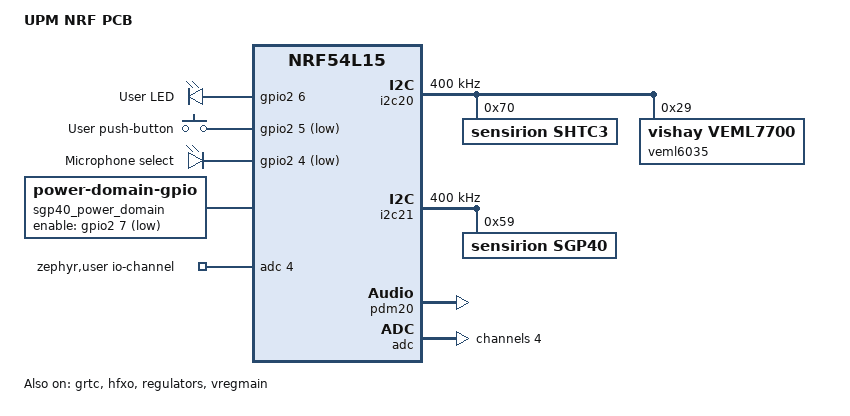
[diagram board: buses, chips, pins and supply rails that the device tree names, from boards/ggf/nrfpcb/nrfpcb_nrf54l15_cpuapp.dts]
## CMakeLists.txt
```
cmake_minimum_required(VERSION 3.20.0)
find_package(Zephyr REQUIRED HINTS $ENV{ZEPHYR_BASE})

# This compiler directive is required to compile Zephyr 4.4.2 under C23.
#
# Currently, some internal Zephyr APIs assume empty parameter lists in function
# declarations mean an unspecified number of arguments. However, C23 treats
# them as equivalent to a (void) parameter list [void fn(void) == void fn()].
#
# The only API erroring while building this repo is the logging subsystem:
# zephyr/subsys/logging/log_output.c. However, others may arise during
# development.
#
# FIXME[c23]: Remove this when Zephyr bundles the relevant fix into a final release,
# either 4.4.3 or 4.5.0, and Nordic pulls it into NCS.
#
# Commit implementing the fix:
# 	https://github.com/zephyrproject-rtos/zephyr/commit/f3d287cace40ff727347c32b0ec51bc334b34cbb
zephyr_compile_options(-Wno-error=incompatible-pointer-types)


list(APPEND CMAKE_MODULE_PATH ${ZEPHYR_BASE}/modules/nanopb)
include(nanopb)
project(firmware)

add_subdirectory(lib)

target_sources(
	app

	PRIVATE
		src/main.c

		src/ble/ble.c
		src/ble/advertise.c
		src/ble/attestation.c
		src/ble/battery.c
		src/ble/dis.c
		src/ble/environment.c
		src/ble/l2cap.c
		src/ble/settings.c
		src/ble/sensor.c
		src/ble/time.c

		src/fs/fs.c
		src/fs/internal.c

		src/init/attest.c
		src/init/battery.c
		src/init/ble.c
		src/init/factorydata.c
		src/init/fs.c
		src/init/mpsl.c
		src/init/sensors.c
		src/init/settings.c
		src/init/task_button_led.c
		src/init/task_sensors.c
		src/init/timesync.c

		src/sense/im70d122.c
		src/sense/sgp40.c
		src/sense/shtc3.c
		src/sense/veml6035.c

		src/settings/settings.c

		src/tasks/button_led.c
		src/tasks/sensors.c
)
# FIXME[c23]: Remove this when C23 support is fixed as well.
set_property(TARGET app PROPERTY C_STANDARD 23)

target_include_directories(
	app

	PRIVATE
		src/
)

zephyr_nanopb_sources(app res/protobuf/device_settings.proto)
zephyr_nanopb_sources(app res/protobuf/sensor_data_request.proto)

zephyr_linker_sources(SECTIONS src/iterables.ld)

target_link_libraries(app PRIVATE lib_attest)
target_link_libraries(app PRIVATE lib_battery)
target_link_libraries(app PRIVATE lib_factory_data)
target_link_libraries(app PRIVATE lib_init)
target_link_libraries(app PRIVATE lib_mpsl)
target_link_libraries(app PRIVATE lib_rram)
target_link_libraries(app PRIVATE lib_timesync)
```

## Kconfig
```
source "Kconfig.zephyr"

menu "SPV"

	rsource "lib/attest/Kconfig"
	rsource "lib/init/Kconfig"

	menu "Battery"
		config SPV_BATTERY_MV_FULL
			int "Battery full level (mV)"
			default 3000
			help
				Expected voltage when battery is at 100%.

		config SPV_BATTERY_MV_DEPLETED
			int "Battery depleted level (mV)"
			default 2000
			help
				Expected voltage when battery is at 0%.

	endmenu

	menu "BLE"
		menu "L2CAP"
			config SPV_BLE_L2CAP_CHANNELS_PER_CONNECTION
				int "L2CAP channels per connection"
				default 1
				help
					How many channels to preallocate per connection.

			config SPV_BLE_L2CAP_BUFFER_SIZE
				int "Buffer size (Bytes)"
				default 128
				help
					Size of a single L2CAP buffer.

			config SPV_BLE_L2CAP_BUFFERS_PER_CONNECTION
				int "Buffers per connection"
				default 48
				help
					How many L2CAP buffers to reserve for each connection.

			config SPV_BLE_L2CAP_MSG_QUEUE_SIZE
				int "Concurrent messages per channel"
				default 8
				help
					Controls how many packets can be enqueued per connection.
					Doesn't control the amount of buffers, but rather
					how many calls to `ble_l2cap_send_enqueue` can be made
					before any of them complete.
		endmenu
	endmenu

	menu "Filesystem"
		config SPV_FS_DATA_SECTOR_COUNT
			int "Data readings per sector"
			default 256
			help
				Specifies the amount of data blocks to store in each
				data sector.

	endmenu

	menu "Sensors"
		menu "Microphone"
			config SPV_SENSE_MIC_SAMPLE_RATE
				int "Sampling rate (Hz)"
				default 16000
				help
					Microphone sampling rate.

			config SPV_SENSE_MIC_BLOCK_MS
				int "Block length (milliseconds)"
				default 50
				help
					Length of each microphone capture.

			config SPV_SENSE_MIC_BLOCKS_PER_CAPTURE
				int "Blocks per capture"
				default 4
				help
					How many blocks to read each capture.

			config SPV_SENSE_MIC_WARMUP_CAPTURES
				int "Warmup captures"
				default 4
				help
					How many captures should be performed and discarded before
					performing the real measurements.

			config SPV_SENSE_MIC_SENSITIVITY
				int "Microphone sensitivity (dBFS)"
				default -26
				help
					Microphone sensitivity. See datasheet.

			config SPV_SENSE_MIC_SENSITIVITY_REF
				int "Microphone sensitivity reference (dBSPL)"
				default 94
				help
					Reference point for microphone's sensitivity value.
					See datasheet.

		endmenu
	endmenu


	menu "Settings"
		config SPV_SETTINGS_MAX_SAMPLING_PERIOD
			int "Maximum sampling period (seconds)"
			default 3600
			help
				Maximum sampling period configurable by the user.

		config SPV_SETTINGS_MIN_SAMPLING_PERIOD
			int "Minimum sampling period (seconds)"
			default 60
			help
				Minimum sampling period configurable by the user.

	endmenu

	menu "UX"
		menu "Pairing"
			config SPV_UX_BTN_PAIRING_THRESHOLD_START_MS
				int "Pairing start (milliseconds)"
				default 2000
				help
					How long the button should be pressed before entering pairing
					mode.

			config SPV_UX_BTN_PAIRING_THRESHOLD_CANCEL_MS
				int "Pairing cancel (milliseconds)"
				default 5000
				help
					Cancels pairing mode if the button was not released before this
					time.

			config SPV_UX_PAIRING_DURATION_MS
				int "Pairing mode duration (milliseconds)"
				default 30000
				help
					How long to stay in pairing mode.

			config SPV_UX_LED_PAIRING_BLINK_MS
				int "Pairing blink period (milliseconds)"
				default 400
				help
					LED blink frequency during pairing mode.

		endmenu

		menu "Reset"
			config SPV_UX_BTN_RESET_THRESHOLD_START_MS
				int "Reset start (milliseconds)"
				default 10000
				help
					How long the button should be pressed before starting
					reset indications.

			config SPV_UX_BTN_RESET_THRESHOLD_END_MS
				int "Reset end (milliseconds)"
				default 20000
				help
					Total time before the reset is committed.

			config SPV_UX_RESET_POST_WAIT_MS
				int "Post-reset wait (milliseconds)"
				default 5000
				help
					How long to wait after a reset before rebooting.

			config SPV_UX_LED_RESET_BLINK_INITIAL_MS
				int "Initial LED blinking period (milliseconds)"
				default 1000
				help
					Initial blinking period during reset mode.

			config SPV_UX_LED_RESET_BLINK_DECREMENT_DIV
				int "LED blinking speed decrement divider"
				default 10
				help
					Blinking speed acceleration multiplier. Higher means
					slower acceleration.
		endmenu

		config SPV_UX_BTN_PRESSED_SLEEP_MS
			int "Pressed button polling period (milliseconds)"
			default 10
			help
				How often to poll the button pin when pressed.

	endmenu

	config SPV_UPDATE_CONFIRM_WINDOW_MS
		int "Update confirmation delay (milliseconds)"
		default 30000
		help
			How long to wait after system initialization to confirm an update.

endmenu
```

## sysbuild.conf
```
SB_CONFIG_BOOTLOADER_MCUBOOT=y

SB_CONFIG_BOOT_SIGNATURE_KEY_FILE="\${APP_DIR}/config/local/signing_key.pem"
SB_CONFIG_MCUBOOT_SIGNATURE_USING_KMU=y
SB_CONFIG_BOOT_SIGNATURE_TYPE_ED25519=y
SB_CONFIG_MCUBOOT_GENERATE_DEFAULT_KEY_FILE=y

SB_CONFIG_BOOT_ENCRYPTION=y
SB_CONFIG_BOOT_ENCRYPTION_KEY_FILE="\${APP_DIR}/config/local/encryption_key.pem"
```

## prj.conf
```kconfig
# FIXME[c23]: Uncomment this when Zephyr bundles the relevant fix into a final release,
# either 4.4.3 or 4.5.0, and Nordic pulls it into NCS.
#
# See CMakeLists.txt for more information.
#
# Commit implementing the fix:
# 	https://github.com/zephyrproject-rtos/zephyr/commit/f3d287cace40ff727347c32b0ec51bc334b34cbb
# CONFIG_STD_C23=y

# Zephyr general settings
CONFIG_FLASH=y
CONFIG_FLASH_MAP=y
CONFIG_SETTINGS=y
CONFIG_NANOPB=y
CONFIG_REBOOT=y
CONFIG_MPU_ALLOW_FLASH_WRITE=y
CONFIG_LTO=y
CONFIG_ISR_TABLES_LOCAL_DECLARATION=y
CONFIG_RESET_ON_FATAL_ERROR=y
CONFIG_ASSERT=y

# DSP
CONFIG_FPU=y
CONFIG_FPU_SHARING=y
CONFIG_CMSIS_DSP=y
CONFIG_CMSIS_DSP_STATISTICS=y
CONFIG_CMSIS_DSP_FILTERING=y

# Peripheral power management
CONFIG_PM_DEVICE=y
CONFIG_PM_DEVICE_POWER_DOMAIN=y
CONFIG_PM_DEVICE_RUNTIME=y
CONFIG_POWER_DOMAIN=y
CONFIG_POWER_DOMAIN_GPIO=y



# Cryptography
CONFIG_FPROTECT=y
CONFIG_PSA_CRYPTO_DRIVER_CRACEN=y

CONFIG_PSA_WANT_ALG_SHA_256=y
CONFIG_PSA_WANT_ECC_SECP_R1_256=y
CONFIG_PSA_WANT_ALG_ECDSA=y
CONFIG_PSA_CRYPTO_DRIVER_CRACEN=y

# Flash
CONFIG_SETTINGS_NVS=y
CONFIG_FLASH=y
CONFIG_FLASH_PAGE_LAYOUT=y
CONFIG_MPU_ALLOW_FLASH_WRITE=y
CONFIG_NVS=y


# Sensors
CONFIG_SENSOR=y
CONFIG_SHTCX=y
CONFIG_AUDIO=y
CONFIG_AUDIO_DMIC=y

# GPIO
CONFIG_GPIO=y

# I²C
CONFIG_I2C=y

# ADC
CONFIG_ADC=y
CONFIG_NRFX_SAADC=y

# BLE
CONFIG_BT=y
CONFIG_BT_LL_SOFTDEVICE=y
CONFIG_BT_CTLR_TX_PWR_DYNAMIC_CONTROL=y
CONFIG_BT_USER_PHY_UPDATE=y
CONFIG_BT_CONN_CTX=y
CONFIG_BT_FILTER_ACCEPT_LIST=y
CONFIG_BT_DEVICE_NAME="UPM SPV"
CONFIG_BT_DEVICE_APPEARANCE=21
CONFIG_BT_MAX_PAIRED=10
CONFIG_BT_CTLR_TX_PWR_0=y
CONFIG_NCS_SAMPLE_MCUMGR_BT_OTA_DFU=y
CONFIG_BT_SMP_ALLOW_UNAUTH_OVERWRITE=y
CONFIG_BT_L2CAP_DYNAMIC_CHANNEL=y
CONFIG_MPSL=y

CONFIG_BT_PERIPHERAL=y
CONFIG_BT_GATT_CLIENT=y

CONFIG_BT_SMP=y
CONFIG_BT_SETTINGS=y

CONFIG_BT_PERIPHERAL_PREF_MIN_INT=20
CONFIG_BT_PERIPHERAL_PREF_MAX_INT=100
CONFIG_BT_PERIPHERAL_PREF_LATENCY=0
CONFIG_BT_PERIPHERAL_PREF_TIMEOUT=2000

CONFIG_BT_USER_DATA_LEN_UPDATE=y

CONFIG_BT_RX_STACK_SIZE=4096


# Console
CONFIG_CONSOLE=y
CONFIG_RTT_CONSOLE=y
CONFIG_LOG=y
CONFIG_LOG_BACKEND_RTT=y
CONFIG_USE_SEGGER_RTT=y

CONFIG_STACK_SENTINEL=y
CONFIG_LOG_BUFFER_SIZE=8192
CONFIG_SEGGER_RTT_MODE_BLOCK_IF_FIFO_FULL=y
CONFIG_LOG_BLOCK_IN_THREAD=y
CONFIG_THREAD_NAME=y
CONFIG_LOG_DEFAULT_LEVEL=3
```

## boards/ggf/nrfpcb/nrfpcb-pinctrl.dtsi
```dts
/*
 * Pin configuration
 */
&pinctrl {

	/*
	 * I²C pin assignments
	 */
	// Always-on I²C uses pin 1.03 for SCL and 1.04 for SDA.
	i2c20_default: i2c20_default {
		group1 {
			psels = <NRF_PSEL(TWIM_SCL, 1, 3)>,
				<NRF_PSEL(TWIM_SDA, 1, 4)>;
		};
	};
	i2c20_sleep: i2c20_sleep {
		group1 {
			psels = <NRF_PSEL(TWIM_SCL, 1, 3)>,
				<NRF_PSEL(TWIM_SDA, 1, 4)>;
			low-power-enable;
		};
	};

	// Gated I²C uses pin 1.06 for SCL and 1.05 for SDA.
	i2c21_default: i2c21_default {
		group1 {
			psels = <NRF_PSEL(TWIM_SCL, 1, 6)>,
				<NRF_PSEL(TWIM_SDA, 1, 5)>;
		};
	};
	i2c21_sleep: i2c21_sleep {
		group1 {
			psels = <NRF_PSEL(TWIM_SCL, 1, 6)>,
				<NRF_PSEL(TWIM_SDA, 1, 5)>;
			low-power-enable;
		};
	};

	/*
	 * PDM pin assigments
	 */
	// P1.07 for data, P1.08 for clock. SELECT is delegated to a GPIO.
	pdm20_default: pdm20_default {
		group1 {
			psels = <NRF_PSEL(PDM_DIN, 1, 7)>,
				<NRF_PSEL(PDM_CLK, 1, 8)>;
		};
	};
};
```

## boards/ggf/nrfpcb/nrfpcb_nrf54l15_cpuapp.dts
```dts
/dts-v1/;

#include <nordic/nrf54l15_cpuapp.dtsi>
#include "nrfpcb-pinctrl.dtsi"

/ {
	model = "UPM NRF PCB";
	compatible = "ggf,nrfpcb-cpuapp";

	chosen {
		zephyr,code-partition = &slot0_partition;
		zephyr,settings-partition = &storage_partition;
		zephyr,sram = &cpuapp_sram;
		zephyr,flash = &cpuapp_rram;
		zephyr,flash-controller = &rram_controller;
	};

	/*
	 * LED, push-button and GPIO definitions.
	 */

	leds {
		compatible = "gpio-leds";
		usr_led: usr_led {
			gpios = <&gpio2 6 GPIO_ACTIVE_HIGH>;
			label = "User LED";
		};
	};

	buttons {
		compatible = "gpio-keys";
		usr_button: usr_button {
			gpios = <&gpio2 5 (GPIO_PULL_UP | GPIO_ACTIVE_LOW)>;
			label = "User push-button";
		};
	};

	gpio_control {
		compatible = "gpio-leds";
		mic_sel: mic_sel {
			gpios = <&gpio2 4 (GPIO_ACTIVE_LOW)>;
			label = "Microphone select";
		};
	};

	sgp40_power_domain: sgp40_power_domain {
		status = "okay";
		compatible = "power-domain-gpio";
		enable-gpios = <&gpio2 7 (GPIO_ACTIVE_LOW)>;
		#power-domain-cells = <0>;
		startup-delay-us = <2000>;
		off-on-delay-us = <10000>;
	};

	zephyr,user {
		io-channels = <&adc 4>;
	};

	aliases {
		usr-led = &usr_led;
		usr-button = &usr_button;

		light-sensor = &veml6035;
		ambient-sensor = &shtc3;
		voc-sensor = &sgp40;
		microphone = &im70d122;

		mic-sel = &mic_sel;
		voc-power-domain = &sgp40_power_domain;
	};
};

&clock {
	status = "okay";
};

&grtc {
	owned-channels = <0 1 2 3 4 5 6 7 8 9 10 11>;
	/* Channels 7-11 reserved for Zero Latency IRQs, 3-4 for FLPR */
	child-owned-channels = <3 4 7 8 9 10 11>;
	status = "okay";
};

&cpuapp_sram {
	status = "okay";
};


/*
 * Partition table
 *
 * Split into 5 main categories:
 * - MCUBoot (bootloader).
 * - A/B partitions. Equally sized to support DFU updates.
 * - Factory-provisioned permanent data.
 * - NVS partition for storing settings and persistent data.
 * - Sensor data for storing sensor readings.
 */
&cpuapp_rram {
	partitions {
		compatible = "fixed-partitions";
		#address-cells = <1>;
		#size-cells = <1>;

		boot_partition: partition@0 {
			label = "mcuboot";
			reg = <0x0 DT_SIZE_K(60)>;
		};

		slot0_partition: partition@f000 {
			label = "image-0";
			reg = <0xF000 DT_SIZE_K(332)>;
		};

		slot1_partition: partition@62000 {
			label = "image-1";
			reg = <0x62000 DT_SIZE_K(332)>;
		};

		factory_data: partition@b5000 {
			label = "factory";
			reg = <0xb5000 DT_SIZE_K(4)>;
		};

		storage_partition: partition@b6000{
			label = "storage";
			reg = <0xb6000 DT_SIZE_K(16)>;
		};

		// Fill all the way to the end (0x165000)
		sensor_data_partition: partition@ba000 {
			label = "sensor_data";
			reg = <0xba000 DT_SIZE_K(684)>;
		};
	};
};


/*
 * Internal configuration
 */

// 32MHz crystal.
&hfxo {
	status = "okay";
	clock-frequency = <32000000>;

	load-capacitors = "internal";
	load-capacitance-femtofarad = <8000>;
};
// No 32kHz crystal.
&lfxo {
    status = "disabled";
};

&regulators {
	status = "okay";
};

&vregmain {
	status = "okay";
	regulator-initial-mode = <NRF5X_REG_MODE_DCDC>;
};

/*
 * GPIO configuration
 */

// Power domain 2 corresponds to GPIO port 1.
&gpiote20 {
	status = "okay";
};

// Only ports 1 and 2 are used.
&gpio1 {
	status = "okay";
};
&gpio2 {
	status = "okay";
};

// By default, P1.02 and P1.03 are reserved for NFC.
// Release them to be used by other peripherals (I²C).
&uicr {
	nfct-pins-as-gpios;
};

/*
 * I²C configuration
 */

// Always-on I²C
&i2c20 {
	compatible = "nordic,nrf-twim";
	status = "okay";

	clock-frequency = <I2C_BITRATE_FAST>;
	pinctrl-0 = <&i2c20_default>;
	pinctrl-1 = <&i2c20_sleep>;
	pinctrl-names = "default", "sleep";

	zephyr,pm-device-runtime-auto;

	shtc3: shtc3@70 {
		compatible = "sensirion,shtc3", "sensirion,shtcx";
		status = "okay";
		reg = <0x70>;
		measure-mode = "low-power";
	};

	veml6035: veml6035@29 {
		compatible = "vishay,veml7700";
		status = "okay";
		reg = <0x29>;

		zephyr,pm-device-runtime-auto;
	};
};

// Gated I²C
&i2c21 {
	compatible = "nordic,nrf-twim";
	status = "okay";
	// Enable power-management.
	// Allows enabling and disabling the peripheral. Starts OFF.
	zephyr,pm-device-runtime-auto;

	clock-frequency = <I2C_BITRATE_FAST>;
	pinctrl-0 = <&i2c21_default>;
	pinctrl-1 = <&i2c21_sleep>;
	pinctrl-names = "default", "sleep";

	sgp40: sgp40@59 {
		compatible = "sensirion,sgp40";
		status = "okay";
		reg = <0x59>;

		power-domains = <&sgp40_power_domain>;
	};
};


/*
 * Microphone configuration
 */
im70d122: &pdm20 {
	status = "okay";

	clock-source = "PCLK32M";
	queue-size = <128>;
	pinctrl-0 = <&pdm20_default>;
	pinctrl-names = "default";
};


/*
 * ADC configuration
 */
&adc {
	#address-cells = <1>;
    	#size-cells = <0>;
	compatible = "nordic,nrf-saadc";
	status = "okay";

	// VBAT
	channel@4 {
		reg = <4>;
		zephyr,reference = "ADC_REF_INTERNAL"; // Internal reference of 0.9V
		zephyr,gain = "ADC_GAIN_1_4"; // Allows reading up to 3.6V (VDD max is 3.3V)
		zephyr,acquisition-time = <ADC_ACQ_TIME_DEFAULT>;
		zephyr,input-positive = <NRF_SAADC_AIN4>;
		zephyr,resolution = <12>;
	};
};
```

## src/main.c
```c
#include <zephyr/kernel.h>
#include <zephyr/logging/log.h>
#include <zephyr/app_version.h>
#include <zephyr/dfu/mcuboot.h>
#include "init/init.h"

LOG_MODULE_REGISTER(main, LOG_LEVEL_DBG);


int main(void) {
	LOG_INF("Welcome to SPV "APP_VERSION_STRING);
	init_start();

	if (!boot_is_img_confirmed()) {
		k_msleep(CONFIG_SPV_UPDATE_CONFIRM_WINDOW_MS);

		int err = boot_write_img_confirmed();
		if (err) {
			LOG_ERR("Error confirming boot image: %d", err);
			k_panic();
		}
		LOG_INF("Updated boot image confirmed");
	}

	return 0;
}
```
